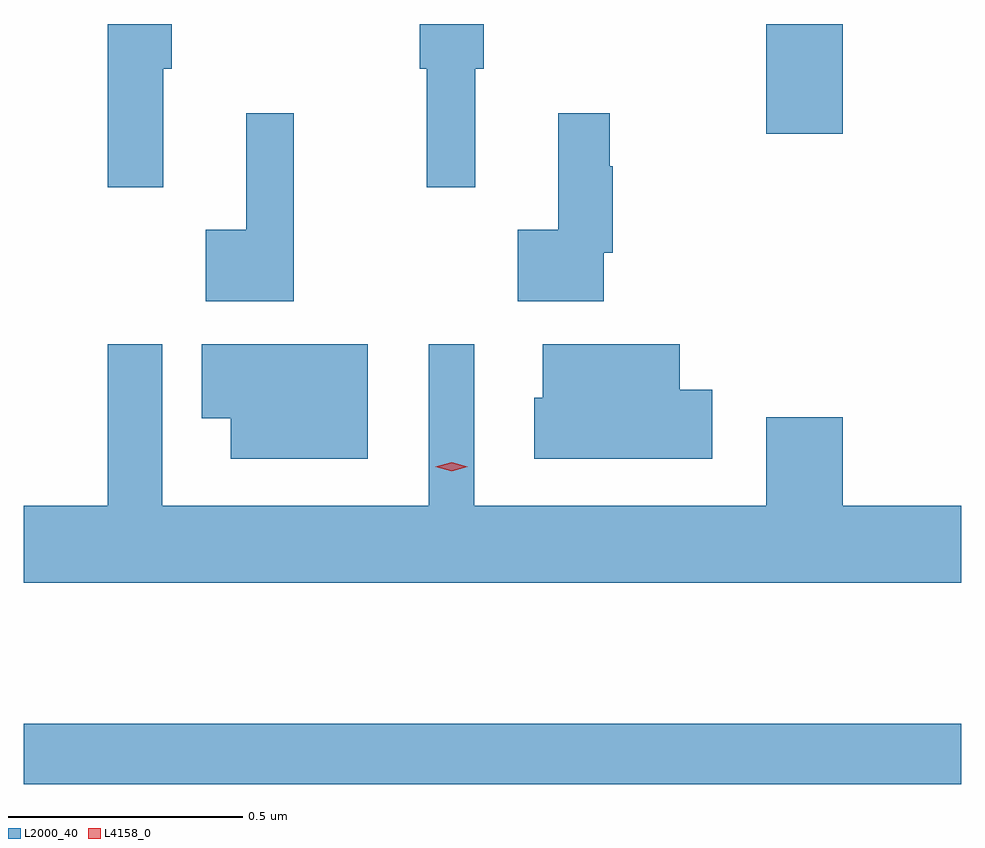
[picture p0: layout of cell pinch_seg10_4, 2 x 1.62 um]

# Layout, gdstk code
import gdstk
lib = gdstk.Library(unit=1e-6, precision=1e-09)
def R(c, l, rs):  # rectangles x0, y0, x1, y1
    for r in rs: c.add(gdstk.rectangle(r[:2], r[2:], *l))
def P(c, l, *ps):  # polygons
    for p in ps: c.add(gdstk.Polygon(p, *l))
L2000_40 = (2000, 40)
L4158_0 = (4158, 0)

pinch_seg10_4 = lib.new_cell('pinch_seg10_4')
R(pinch_seg10_4, L2000_40, [(1110.476,1261.258,1112.476,1261.387), (1112.06,1262.646,1112.224,1262.88)])
P(pinch_seg10_4, L2000_40, [(1110.773,1262.784),(1110.791,1262.784),(1110.791,1262.88),(1110.655,1262.88),(1110.655,1262.532),(1110.773,1262.532)],
  [(1111.439,1262.784),(1111.457,1262.784),(1111.457,1262.88),(1111.321,1262.88),(1111.321,1262.784),(1111.336,1262.784),(1111.336,1262.532),(1111.439,1262.532)],
  [(1111.713,1262.392),(1111.733,1262.392),(1111.733,1262.576),(1111.726,1262.576),(1111.726,1262.689),(1111.616,1262.689),(1111.616,1262.441),(1111.53,1262.441),(1111.53,1262.288),(1111.713,1262.288)],
  [(1111.052,1262.689),(1110.95,1262.689),(1110.95,1262.441),(1110.864,1262.441),(1110.864,1262.288),(1111.052,1262.288)],
  [(1112.476,1261.852),(1112.224,1261.852),(1112.224,1262.041),(1112.06,1262.041),(1112.06,1261.852),(1111.437,1261.852),(1111.437,1262.197),(1111.34,1262.197),(1111.34,1261.852),(1110.771,1261.852),(1110.771,1262.197),(1110.655,1262.197),(1110.655,1261.852),(1110.476,1261.852),(1110.476,1261.688),(1112.476,1261.688)],
  [(1111.21,1262.197),(1110.856,1262.197),(1110.856,1262.039),(1110.917,1262.039),(1110.917,1261.952),(1111.21,1261.952)],
  [(1111.945,1262.099),(1111.876,1262.099),(1111.876,1262.197),(1111.583,1262.197),(1111.583,1262.082),(1111.565,1262.082),(1111.565,1261.952),(1111.945,1261.952)])
P(pinch_seg10_4, L4158_0, [(1111.389,1261.925),(1111.354,1261.935),(1111.354,1261.935),(1111.354,1261.935),(1111.389,1261.945),(1111.423,1261.935),(1111.423,1261.935),(1111.423,1261.935)])

lib.write_gds('pinch_seg10_4.gds')
